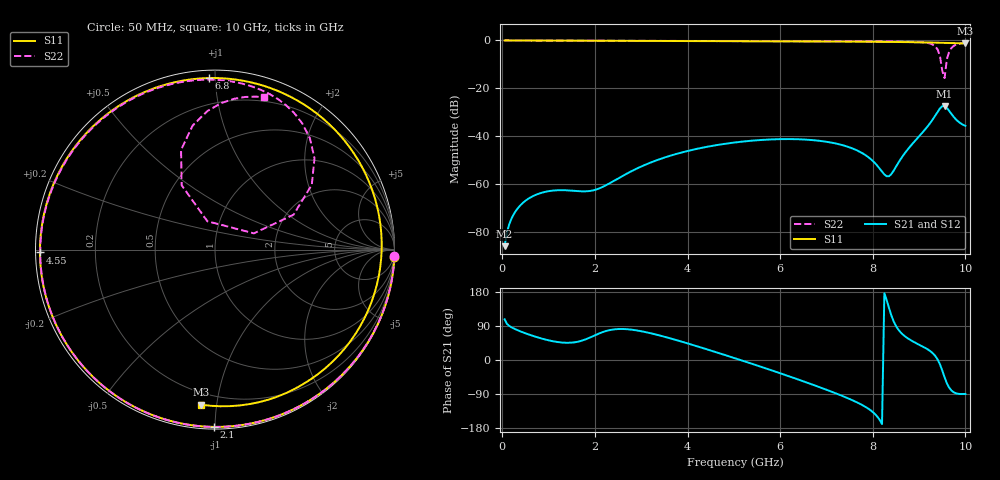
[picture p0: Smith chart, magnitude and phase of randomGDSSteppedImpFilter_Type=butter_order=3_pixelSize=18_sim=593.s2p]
! freq	dB(S11)	phase(S11)	dB(S12)	phase(S12)
!  dB(S21)	phase(S21)	dB(S22)	phase(S22)
!S-par simulation data
#  GHz  S  DB  R 50
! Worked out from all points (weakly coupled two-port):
!   200 points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, 50 MHz to 10 GHz, reference 50 ohm
!   highest |S21| = -27.37 dB at 9.55 GHz (marker M1); lowest = -85.9 dB at 50 MHz (marker M2)
!   lowest |S11| = -1.2 dB at 10 GHz (marker M3), VSWR 14.10, Z = 6.48 - j45.3 ohm
!   |S11| at or under -10 dB: nowhere
!   |S22| runs from -15.7 to 0.0 dB; largest |S21 - S12| = 0
!   S11 on the Smith chart (normalised r, x): 50 MHz: 0, -50; 2.1 GHz: 0.01, -0.99; 4.55 GHz: 0.01, -0.01; 6.8 GHz: 0.04, +0.96; 10 GHz: 0.13, -0.91
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0.05  -0.00 -2.3  -85.89 107.3  -85.89 107.3  -0.00 -2.1
0.1  -0.00 -4.6  -80.18 95.5  -80.18 95.5  -0.00 -4.2
0.35  -0.01 -16.0  -69.69 77.6  -69.69 77.6  -0.01 -14.6
0.65  -0.03 -29.5  -65.11 64.1  -65.11 64.1  -0.03 -26.9
1.75  -0.09 -76.4  -63.01 52.3  -63.01 52.3  -0.08 -69.3
2.1  -0.11 -90.3  -61.72 70.5  -61.72 70.5  -0.10 -81.8
3.4  -0.16 -138.6  -49.56 64.7  -49.56 64.7  -0.14 -123.4
4.55  -0.22 -179.1  -43.95 23.1  -43.95 23.1  -0.18 -155.7
5.05  -0.25 163.0  -42.53 3.6  -42.53 3.6  -0.21 -168.9
5.85  -0.30 132.6  -41.29 -28.7  -41.29 -28.7  -0.25 170.2
6.7  -0.38 96.7  -41.60 -65.0  -41.60 -65.0  -0.30 147.7
6.8  -0.39 92.2  -41.79 -69.4  -41.79 -69.4  -0.31 145.0
7.7  -0.49 47.8  -46.28 -114.2  -46.28 -114.2  -0.37 119.8
8.35  -0.60 11.7  -56.70 137.6  -56.70 137.6  -0.43 99.5
9.05  -0.79 -30.8  -38.95 37.3  -38.95 37.3  -0.74 70.5
9.35  -0.91 -50.2  -31.33 10.6  -31.33 10.6  -2.46 42.6
9.45  -0.95 -56.8  -28.40 -11.2  -28.40 -11.2  -6.39 23.9
9.55  -0.99 -63.5  -27.37 -45.5  -27.37 -45.5  -15.71 105.2
9.6  -1.01 -66.9  -28.15 -61.4  -28.15 -61.4  -7.87 117.4
9.65  -1.04 -70.4  -29.40 -73.1  -29.40 -73.1  -4.63 108.8
9.8  -1.12 -80.8  -33.03 -87.9  -33.03 -87.9  -1.75 87.5
10  -1.23 -95.2  -35.65 -89.6  -35.65 -89.6  -0.99 72.0
